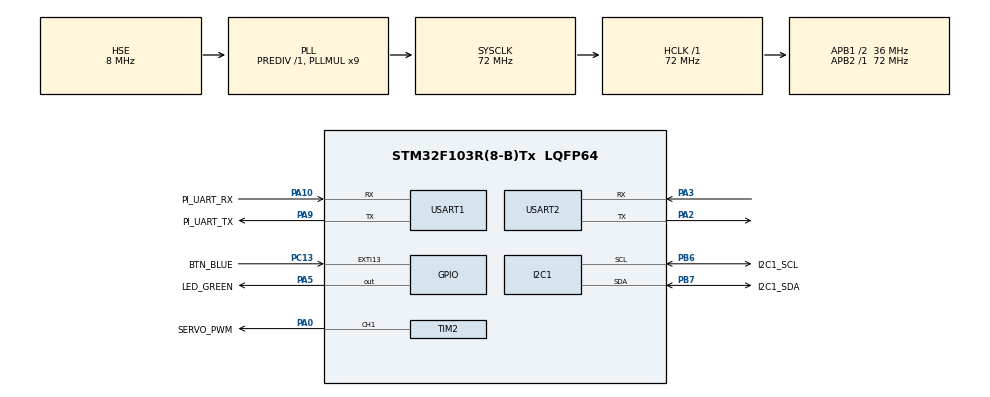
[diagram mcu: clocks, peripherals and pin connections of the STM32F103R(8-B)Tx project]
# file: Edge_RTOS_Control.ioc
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Dma.Request0=USART1_RX
Dma.Request1=USART1_TX
Dma.USART1_RX.0.Direction=DMA_PERIPH_TO_MEMORY
Dma.USART1_RX.0.Instance=DMA1_Channel5
Dma.USART1_RX.0.MemDataAlignment=DMA_MDATAALIGN_BYTE
Dma.USART1_RX.0.MemInc=DMA_MINC_ENABLE
Dma.USART1_RX.0.Mode=DMA_CIRCULAR
Dma.USART1_RX.0.PeriphDataAlignment=DMA_PDATAALIGN_BYTE
Dma.USART1_RX.0.PeriphInc=DMA_PINC_DISABLE
Dma.USART1_RX.0.Priority=DMA_PRIORITY_LOW
Dma.USART1_TX.1.Direction=DMA_MEMORY_TO_PERIPH
Dma.USART1_TX.1.Instance=DMA1_Channel4
Dma.USART1_TX.1.MemDataAlignment=DMA_MDATAALIGN_BYTE
Dma.USART1_TX.1.MemInc=DMA_MINC_ENABLE
Dma.USART1_TX.1.Mode=DMA_NORMAL
Dma.USART1_TX.1.PeriphDataAlignment=DMA_PDATAALIGN_BYTE
Dma.USART1_TX.1.PeriphInc=DMA_PINC_DISABLE
Dma.USART1_TX.1.Priority=DMA_PRIORITY_LOW
FREERTOS.Queues01=rxQueue,10,64,1,Dynamic,NULL,NULL
FREERTOS.Tasks01=controlTask,40,128,StartControlTask,Default,NULL,Dynamic,NULL,NULL;cmdTask,24,128,StartCmdTask,Default,NULL,Dynamic,NULL,NULL;txTask,24,128,StartTxTask,Default,NULL,Dynamic,NULL,NULL;statusTask,8,128,StartStatusTask,Default,NULL,Dynamic,NULL,NULL
FREERTOS.configTOTAL_HEAP_SIZE=4096
I2C1.I2C_Mode=I2C_Fast
IWDG.Prescaler=IWDG_PRESCALER_32
IWDG.Reload=624
Mcu.Family=STM32F1
Mcu.Name=STM32F103R(8-B)Tx
Mcu.Package=LQFP64
NVIC.DMA1_Channel4_IRQn=true\:5\:0\:false\:false\:true\:true\:false\:true\:true
NVIC.DMA1_Channel5_IRQn=true\:5\:0\:false\:false\:true\:true\:false\:true\:true
NVIC.EXTI15_10_IRQn=true\:5\:0\:false\:false\:true\:true\:true\:true\:true
NVIC.PriorityGroup=NVIC_PRIORITYGROUP_4
NVIC.TIM1_UP_IRQn=true\:15\:0\:true\:false\:true\:false\:false\:true\:true
NVIC.TimeBase=TIM1_UP_IRQn
NVIC.TimeBaseIP=TIM1
NVIC.USART1_IRQn=true\:5\:0\:false\:false\:true\:true\:false\:true\:true
PA0-WKUP.GPIO_Label=SERVO_PWM
PA0-WKUP.Signal=S_TIM2_CH1_ETR
PA10.GPIO_Label=PI_UART_RX
PA10.Mode=Asynchronous
PA10.Signal=USART1_RX
PA13.Mode=Trace_Asynchronous_SW
PA13.Signal=SYS_JTMS-SWDIO
PA14.Mode=Trace_Asynchronous_SW
PA14.Signal=SYS_JTCK-SWCLK
PA2.Mode=Asynchronous
PA2.Signal=USART2_TX
PA3.Mode=Asynchronous
PA3.Signal=USART2_RX
PA5.GPIO_Label=LED_GREEN
PA5.Signal=GPIO_Output
PA9.GPIO_Label=PI_UART_TX
PA9.Mode=Asynchronous
PA9.Signal=USART1_TX
PB3.Mode=Trace_Asynchronous_SW
PB3.Signal=SYS_JTDO-TRACESWO
PB6.GPIO_Label=I2C1_SCL
PB6.Mode=I2C
PB6.Signal=I2C1_SCL
PB7.GPIO_Label=I2C1_SDA
PB7.Mode=I2C
PB7.Signal=I2C1_SDA
PC13-TAMPER-RTC.GPIO_Label=BTN_BLUE
PC13-TAMPER-RTC.GPIO_ModeDefaultEXTI=GPIO_MODE_IT_FALLING
PC13-TAMPER-RTC.Signal=GPXTI13
PD0-OSC_IN.Mode=HSE-External-Oscillator
PD0-OSC_IN.Signal=RCC_OSC_IN
PD1-OSC_OUT.Mode=HSE-External-Oscillator
PD1-OSC_OUT.Signal=RCC_OSC_OUT
ProjectManager.HeapSize=0x200
ProjectManager.StackSize=0x400
ProjectManager.TargetToolchain=STM32CubeIDE
RCC.AHBFreq_Value=72000000
RCC.APB1CLKDivider=RCC_HCLK_DIV2
RCC.APB1Freq_Value=36000000
RCC.APB1TimFreq_Value=72000000
RCC.APB2Freq_Value=72000000
RCC.APB2TimFreq_Value=72000000
RCC.HCLKFreq_Value=72000000
RCC.PLLMUL=RCC_PLL_MUL9
RCC.PLLSourceVirtual=RCC_PLLSOURCE_HSE
RCC.SYSCLKFreq_VALUE=72000000
RCC.SYSCLKSource=RCC_SYSCLKSOURCE_PLLCLK
RCC.USBFreq_Value=72000000
SH.S_TIM2_CH1_ETR.0=TIM2_CH1,PWM Generation1 CH1
TIM2.Channel-PWM\ Generation1\ CH1=TIM_CHANNEL_1
TIM2.Period=35999
TIM2.Prescaler=39
USART1.VirtualMode=VM_ASYNC
USART2.VirtualMode=VM_ASYNC
VP_FREERTOS_VS_CMSIS_V2.Mode=CMSIS_V2
VP_IWDG_VS_IWDG.Mode=IWDG_Activate
VP_SYS_VS_tim1.Mode=TIM1
board=custom

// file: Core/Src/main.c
/* USER CODE BEGIN Header */
/**
  ******************************************************************************
  * @file           : main.c
  * @brief          : Main program body
  ******************************************************************************
  * @attention
  *
  * Copyright (c) 2026 STMicroelectronics.
  * All rights reserved.
  *
  * This software is licensed under terms that can be found in the LICENSE file
  * in the root directory of this software component.
  * If no LICENSE file comes with this software, it is provided AS-IS.
  *
  ******************************************************************************
  */
/* USER CODE END Header */
#include "main.h"
#include "cmsis_os.h"
#include "dma.h"
#include "i2c.h"
#include "iwdg.h"
#include "tim.h"
#include "usart.h"
#include "gpio.h"

/* USER CODE BEGIN Includes */
#include <stdio.h>
#include <string.h>
/* USER CODE END Includes */

/* USER CODE BEGIN PD */
#define RX_BUF_SIZE 256
/* USER CODE END PD */

/* USER CODE BEGIN PV */
extern osMessageQueueId_t rxQueueHandle;
/* USER CODE END PV */

void SystemClock_Config(void);
void MX_FREERTOS_Init(void);

/* USER CODE BEGIN 0 */
const uint8_t EXPECTED_DATA_LEN = 64;

uint8_t rx_buff[RX_BUF_SIZE] = {0};

uint16_t rx_data_len = 0;
uint16_t rx_count = 0;
uint16_t last_rx_pos= 0;
/* USER CODE END 0 */

int main(void)
{

  /* MCU Configuration--------------------------------------------------------*/

  /* Reset of all peripherals, Initializes the Flash interface and the Systick. */
  HAL_Init();

  /* Configure the system clock */
  SystemClock_Config();

  /* Initialize all configured peripherals */
  MX_GPIO_Init();
  MX_DMA_Init();
  MX_I2C1_Init();
  MX_IWDG_Init();
  MX_TIM2_Init();
  MX_USART1_UART_Init();
  MX_USART2_UART_Init();
  /* USER CODE BEGIN 2 */
  HAL_UARTEx_ReceiveToIdle_DMA(&huart1, rx_buff, RX_BUF_SIZE);
  /* USER CODE END 2 */

  /* Init scheduler */
  osKernelInitialize();  /* Call init function for freertos objects (in cmsis_os2.c) */
  MX_FREERTOS_Init();

  /* Start scheduler */
  osKernelStart();

  /* We should never get here as control is now taken by the scheduler */

  /* Infinite loop */
  /* USER CODE BEGIN WHILE */
  fflush(stdout);
  while (1)
  {
    /* USER CODE END WHILE */

  }
}

void SystemClock_Config(void)
{
  RCC_OscInitTypeDef RCC_OscInitStruct = {0};
  RCC_ClkInitTypeDef RCC_ClkInitStruct = {0};

  /** Initializes the RCC Oscillators according to the specified parameters
  * in the RCC_OscInitTypeDef structure.
  */
  RCC_OscInitStruct.OscillatorType = RCC_OSCILLATORTYPE_LSI|RCC_OSCILLATORTYPE_HSE;
  RCC_OscInitStruct.HSEState = RCC_HSE_ON;
  RCC_OscInitStruct.HSEPredivValue = RCC_HSE_PREDIV_DIV1;
  RCC_OscInitStruct.HSIState = RCC_HSI_ON;
  RCC_OscInitStruct.LSIState = RCC_LSI_ON;
  RCC_OscInitStruct.PLL.PLLState = RCC_PLL_ON;
  RCC_OscInitStruct.PLL.PLLSource = RCC_PLLSOURCE_HSE;
  RCC_OscInitStruct.PLL.PLLMUL = RCC_PLL_MUL9;
  if (HAL_RCC_OscConfig(&RCC_OscInitStruct) != HAL_OK)
  {
    Error_Handler();
  }

  /** Initializes the CPU, AHB and APB buses clocks
  */
  RCC_ClkInitStruct.ClockType = RCC_CLOCKTYPE_HCLK|RCC_CLOCKTYPE_SYSCLK
                              |RCC_CLOCKTYPE_PCLK1|RCC_CLOCKTYPE_PCLK2;
  RCC_ClkInitStruct.SYSCLKSource = RCC_SYSCLKSOURCE_PLLCLK;
  RCC_ClkInitStruct.AHBCLKDivider = RCC_SYSCLK_DIV1;
  RCC_ClkInitStruct.APB1CLKDivider = RCC_HCLK_DIV2;
  RCC_ClkInitStruct.APB2CLKDivider = RCC_HCLK_DIV1;

  if (HAL_RCC_ClockConfig(&RCC_ClkInitStruct, FLASH_LATENCY_2) != HAL_OK)
  {
    Error_Handler();
  }
}

/* USER CODE BEGIN 4 */
// Enables to write ITM
int _write(int file, char *ptr, int len){
	int data_idx;
	for(data_idx = 0; data_idx < len; ++data_idx){
		while(ITM->PORT[0].u32 == 0);
		ITM_SendChar(*ptr++);
	}
	return len;
}

void HAL_UARTEx_RxEventCallback(UART_HandleTypeDef *huart, uint16_t Size){
	if(huart->Instance == USART1){
		uint16_t cur_rx_pos = Size;
		uint16_t data_len = 0;
		uint8_t temp[64] = {0};

		if(cur_rx_pos != last_rx_pos){
			if(cur_rx_pos > last_rx_pos){
				data_len = cur_rx_pos - last_rx_pos;
				if(data_len > EXPECTED_DATA_LEN - 1){
					data_len = EXPECTED_DATA_LEN - 1;
				}
				memcpy(temp, &rx_buff[last_rx_pos], data_len);
			}
			else{
				uint16_t len1 = RX_BUF_SIZE - last_rx_pos;
				uint16_t len2 = cur_rx_pos;

				if(len1 + len2 > EXPECTED_DATA_LEN - 1){
					if(len1 > EXPECTED_DATA_LEN - 1){
						len1 = EXPECTED_DATA_LEN - 1;
						len2 = 0;
					}
					else{
						len2 = EXPECTED_DATA_LEN - 1 - len1;
					}
				}

				memcpy(temp, &rx_buff[last_rx_pos], len1);
				if(len2 > 0){
					memcpy(&temp[len1], rx_buff, len2);
				}
				data_len = len1 + len2;
			}

			temp[data_len] = '\0';
			last_rx_pos = cur_rx_pos;

			osMessageQueuePut(rxQueueHandle, temp, 0, 0);
			++rx_count;
		}
	}
}
/* USER CODE END 4 */

void HAL_TIM_PeriodElapsedCallback(TIM_HandleTypeDef *htim)
{
  if (htim->Instance == TIM1)
  {
    HAL_IncTick();
  }
}

void Error_Handler(void)
{
  __disable_irq();
  while (1)
  {
  }
}

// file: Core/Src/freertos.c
/* USER CODE BEGIN Header */
/**
  ******************************************************************************
  * File Name          : freertos.c
  * Description        : Code for freertos applications
  ******************************************************************************
  * @attention
  *
  * Copyright (c) 2026 STMicroelectronics.
  * All rights reserved.
  *
  * This software is licensed under terms that can be found in the LICENSE file
  * in the root directory of this software component.
  * If no LICENSE file comes with this software, it is provided AS-IS.
  *
  ******************************************************************************
  */
/* USER CODE END Header */

#include "FreeRTOS.h"
#include "task.h"
#include "main.h"
#include "cmsis_os.h"

/* USER CODE BEGIN Includes */
#include <stdio.h>
#include <string.h>

#include "iwdg.h"
/* USER CODE END Includes */

/* USER CODE BEGIN PD */
extern uint8_t rx_buff[];
extern uint8_t rx_data_len;
extern UART_HandleTypeDef huart1;
/* USER CODE END PD */

/* USER CODE BEGIN Variables */
static uint8_t tx_buf[128];
/* USER CODE END Variables */
/* Definitions for controlTask */
osThreadId_t controlTaskHandle;
const osThreadAttr_t controlTask_attributes = {
  .name = "controlTask",
  .stack_size = 128 * 4,
  .priority = (osPriority_t) osPriorityHigh,
};
/* Definitions for cmdTask */
osThreadId_t cmdTaskHandle;
const osThreadAttr_t cmdTask_attributes = {
  .name = "cmdTask",
  .stack_size = 128 * 4,
  .priority = (osPriority_t) osPriorityNormal,
};
/* Definitions for txTask */
osThreadId_t txTaskHandle;
const osThreadAttr_t txTask_attributes = {
  .name = "txTask",
  .stack_size = 128 * 4,
  .priority = (osPriority_t) osPriorityNormal,
};
/* Definitions for statusTask */
osThreadId_t statusTaskHandle;
const osThreadAttr_t statusTask_attributes = {
  .name = "statusTask",
  .stack_size = 128 * 4,
  .priority = (osPriority_t) osPriorityLow,
};
/* Definitions for rxQueue */
osMessageQueueId_t rxQueueHandle;
const osMessageQueueAttr_t rxQueue_attributes = {
  .name = "rxQueue"
};

void StartControlTask(void *argument);
void StartCmdTask(void *argument);
void StartTxTask(void *argument);
void StartStatusTask(void *argument);

void MX_FREERTOS_Init(void); /* (MISRA C 2004 rule 8.1) */

void MX_FREERTOS_Init(void) {

  /* Create the queue(s) */
  /* creation of rxQueue */
  rxQueueHandle = osMessageQueueNew (10, 64, &rxQueue_attributes);

  /* Create the thread(s) */
  /* creation of controlTask */
  controlTaskHandle = osThreadNew(StartControlTask, NULL, &controlTask_attributes);

  /* creation of cmdTask */
  cmdTaskHandle = osThreadNew(StartCmdTask, NULL, &cmdTask_attributes);

  /* creation of txTask */
  txTaskHandle = osThreadNew(StartTxTask, NULL, &txTask_attributes);

  /* creation of statusTask */
  statusTaskHandle = osThreadNew(StartStatusTask, NULL, &statusTask_attributes);

}

void StartControlTask(void *argument)
{
  /* USER CODE BEGIN StartControlTask */
  /* Infinite loop */
  for(;;)
  {
    osDelay(1);
    HAL_GPIO_TogglePin(LED_GREEN_GPIO_Port, LED_GREEN_Pin);
  }
  /* USER CODE END StartControlTask */
}

void StartCmdTask(void *argument)
{
  /* USER CODE BEGIN StartCmdTask */
  uint8_t rx_buf[64];

  static uint8_t line_buf[128];
  static uint16_t line_idx = 0;
  /* Infinite loop */
  for(;;)
  {
	  if(osMessageQueueGet(rxQueueHandle, rx_buf, NULL, osWaitForever) == osOK){
		  int i = 0;
		  while(rx_buf[i] != '\0' && i < 64){
			  line_buf[line_idx] = rx_buf[i];
			  ++line_idx;

			  if(line_idx >= sizeof(line_buf) - 1){
				  line_idx = 0;
			  }

			  if(rx_buf[i] == '\n'){
				  line_buf[line_idx] = '\0';
				  printf("Data: %s", line_buf);

//				  uint16_t data_len = strlen((char *) line_buf);
//				  memcpy(tx_buf, "ACK: ", 5);
//				  memcpy(&tx_buf[5], line_buf, data_len);
//				  uint16_t tx_len_sum = 5 + data_len;
//
//				  while(huart1.gState == HAL_UART_STATE_BUSY_TX);
//
//				  HAL_UART_Transmit_DMA(&huart1, tx_buf, tx_len_sum);

				  line_idx = 0;
			  }
			  ++i;
		  }
	  }
  }
  /* USER CODE END StartCmdTask */
}

void StartTxTask(void *argument)
{
  /* USER CODE BEGIN StartTxTask */
  uint32_t tx_c = 0;
  /* Infinite loop */
  for(;;)
  {
    int data_len = snprintf((char *) tx_buf, sizeof(tx_buf), "ACK %lu\n", 500 + tx_c);
   	HAL_UART_Transmit_DMA(&huart1, tx_buf, data_len);
   	++tx_c;
    osDelay(500);
  }
  /* USER CODE END StartTxTask */
}

void StartStatusTask(void *argument)
{
  /* USER CODE BEGIN StartStatusTask */
  /* Infinite loop */
  for(;;)
  {
    HAL_IWDG_Refresh(&hiwdg);
    osDelay(150);
  }
  /* USER CODE END StartStatusTask */
}
